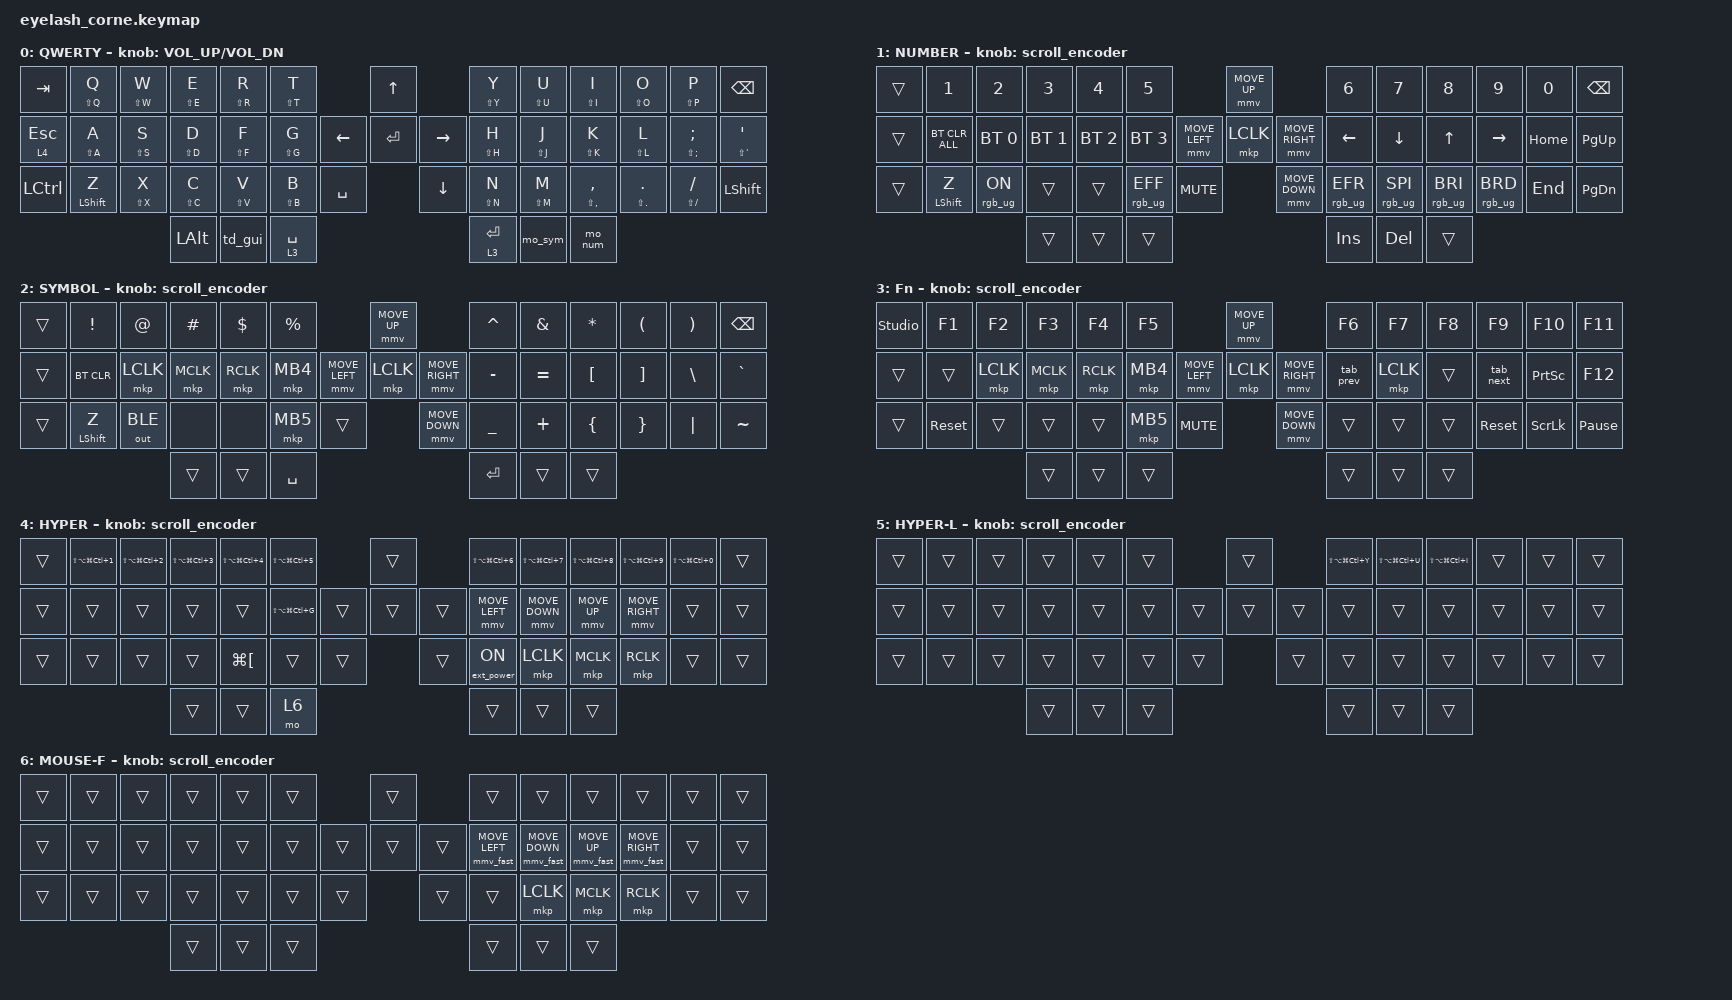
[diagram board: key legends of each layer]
#define ZMK_POINTING_DEFAULT_MOVE_VAL 1200  // 600
#define ZMK_POINTING_DEFAULT_SCRL_VAL 25   // 10

#include <input/processors.dtsi>
#include <zephyr/dt-bindings/input/input-event-codes.h>
#include <behaviors.dtsi>
#include <dt-bindings/zmk/bt.h>
#include <dt-bindings/zmk/ext_power.h>
#include <dt-bindings/zmk/keys.h>
#include <dt-bindings/zmk/outputs.h>
#include <dt-bindings/zmk/pointing.h>
#include <dt-bindings/zmk/rgb.h>



&mmv_input_listener { input-processors = <&zip_xy_scaler 2 1>; };

&msc_input_listener { input-processors = <&zip_scroll_scaler 2 1>; };

&msc {
    acceleration-exponent = <1>;      // 0
    time-to-max-speed-ms = <100>;       // 300
    delay-ms = <0>;                   // 0
};

&mmv {
    time-to-max-speed-ms = <500>;
    acceleration-exponent = <1>;
    trigger-period-ms = <16>;
};

&soft_off { hold-time-ms = <2000>; };

/ {
    macros {
        // NUMBER layer with orange RGB (hue 30)
        mo_num: mo_num {
            compatible = "zmk,behavior-macro";
            #binding-cells = <0>;
            bindings
                = <&macro_tap &rgb_ug RGB_COLOR_HSB(30,100,50)>
                , <&macro_press &mo 1>
                , <&macro_pause_for_release>
                , <&macro_release &mo 1>
                , <&macro_tap &rgb_ug RGB_COLOR_HSB(160,100,50)>
                ;
        };

        tab_prev: tab_prev {
            compatible = "zmk,behavior-macro";
            #binding-cells = <0>;
            bindings = <&macro_press &kp LGUI &kp LSHIFT>
                     , <&macro_tap &kp LBKT>
                     , <&macro_release &kp LGUI &kp LSHIFT>;
        };

        tab_next: tab_next {
            compatible = "zmk,behavior-macro";
            #binding-cells = <0>;
            bindings = <&macro_press &kp LGUI &kp LSHIFT>
                     , <&macro_tap &kp RBKT>
                     , <&macro_release &kp LGUI &kp LSHIFT>;
        };

        // SYMBOL layer with red RGB (hue 0)
        mo_sym: mo_sym {
            compatible = "zmk,behavior-macro";
            #binding-cells = <0>;
            bindings
                = <&macro_tap &rgb_ug RGB_COLOR_HSB(0,100,50)>
                , <&macro_press &mo 2>
                , <&macro_pause_for_release>
                , <&macro_release &mo 2>
                , <&macro_tap &rgb_ug RGB_COLOR_HSB(160,100,50)>
                ;
        };
    };

    behaviors {
        td0: td0 {
            compatible = "zmk,behavior-tap-dance";
            display-name = "Shift/Caps Lock Tap Dance";
            #binding-cells = <0>;
            bindings = <&kp LEFT_SHIFT>, <&kp CAPS>;
        };

        hm_z: hm_z {
            compatible = "zmk,behavior-hold-tap";
            display-name = "Z/Shift Hold-Tap";
            #binding-cells = <2>;
            tapping-term-ms = <200>;
            flavor = "balanced";
            bindings = <&kp>, <&kp>;
        };

        as_ht: autoshift_hold_tap {
            compatible = "zmk,behavior-hold-tap";
            display-name = "Auto Shift";
            #binding-cells = <2>;
            tapping-term-ms = <200>;
            flavor = "tap-preferred";
            bindings = <&kp>, <&kp>;
        };


        td_gui: td_gui {
            compatible = "zmk,behavior-tap-dance";
            display-name = "GUI/Hyper-Letter Tap Dance";
            #binding-cells = <0>;
            tapping-term-ms = <200>;
            bindings = <&kp LGUI>, <&mo 5>;
        };

        mmv_fast: mmv_fast {
            compatible = "zmk,behavior-input-two-axis";
            #binding-cells = <1>;
            x-input-code = <INPUT_REL_X>;
            y-input-code = <INPUT_REL_Y>;
            time-to-max-speed-ms = <100>;
            acceleration-exponent = <1>;
            trigger-period-ms = <16>;
        };
    };

    mmv_fast_input_listener: mmv_fast_input_listener {
        compatible = "zmk,input-listener";
        device = <&mmv_fast>;
        input-processors = <&zip_xy_scaler 2 1>;
    };

    rgb_encoder: rgb_encoder {
        compatible = "zmk,behavior-sensor-rotate";
        #sensor-binding-cells = <0>;
        bindings = <&rgb_ug RGB_BRI>, <&rgb_ug RGB_BRD>;
    };

    scroll_encoder: scroll_encoder {
        compatible = "zmk,behavior-sensor-rotate";
        #sensor-binding-cells = <0>;
        bindings = <&msc SCRL_DOWN>, <&msc SCRL_UP>;

        tap-ms = <100>;
    };

    combos {
        compatible = "zmk,combos";

        softoff {
            bindings = <&soft_off>;
            key-positions = <1 15 29>;
        };
    };

    keymap {
        compatible = "zmk,keymap";

        default_layer {
            display-name = "QWERTY";
            bindings = <
&kp TAB       &as_ht LS(Q) Q  &as_ht LS(W) W  &as_ht LS(E) E  &as_ht LS(R) R  &as_ht LS(T) T                            &kp UP                &as_ht LS(Y) Y  &as_ht LS(U) U  &as_ht LS(I) I  &as_ht LS(O) O  &as_ht LS(P) P  &kp BSPC
&lt 4 ESCAPE  &as_ht LS(A) A  &as_ht LS(S) S  &as_ht LS(D) D  &as_ht LS(F) F  &as_ht LS(G) G              &kp LEFT  &kp ENTER  &kp RIGHT  &as_ht LS(H) H  &as_ht LS(J) J  &as_ht LS(K) K  &as_ht LS(L) L  &as_ht LS(SEMI) SEMI  &as_ht LS(SQT) SQT
&kp LCTRL     &hm_z LSHIFT Z  &as_ht LS(X) X  &as_ht LS(C) C  &as_ht LS(V) V  &as_ht LS(B) B  &kp SPACE              &kp DOWN              &as_ht LS(N) N  &as_ht LS(M) M  &as_ht LS(COMMA) COMMA  &as_ht LS(DOT) DOT  &as_ht LS(FSLH) FSLH  &kp LSHIFT
                            &kp LALT  &td_gui  &lt 3 SPACE                                                  &lt 3 ENTER  &mo_sym  &mo_num
            >;

            sensor-bindings = <&inc_dec_kp C_VOLUME_UP C_VOL_DN>;
        };

        lower_layer {
            display-name = "NUMBER";
            bindings = <
&trans  &kp N1           &kp N2          &kp N3        &kp N4        &kp N5                                         &mmv MOVE_UP                     &kp N6           &kp N7           &kp N8           &kp N9           &kp N0    &kp BSPC
&trans  &bt BT_CLR_ALL   &bt BT_SEL 0    &bt BT_SEL 1  &bt BT_SEL 2  &bt BT_SEL 3                   &mmv MOVE_LEFT  &mkp LCLK       &mmv MOVE_RIGHT  &kp LEFT         &kp DOWN         &kp UP           &kp RIGHT        &kp HOME  &kp PG_UP
&trans  &hm_z LSHIFT Z  &rgb_ug RGB_ON  &trans        &trans        &rgb_ug RGB_EFF  &kp C_MUTE                    &mmv MOVE_DOWN                   &rgb_ug RGB_EFR  &rgb_ug RGB_SPI  &rgb_ug RGB_BRI  &rgb_ug RGB_BRD  &kp END   &kp PG_DN
                                         &trans        &trans        &trans                                                                          &kp INS          &kp DEL          &trans
            >;

            sensor-bindings = <&scroll_encoder>;
        };

        raise_layer {
            display-name = "SYMBOL";
            bindings = <
&trans  &kp EXCL      &kp AT        &kp HASH   &kp DLLR   &kp PRCNT                            &mmv MOVE_UP                     &kp CARET  &kp AMPS   &kp ASTRK  &kp LPAR  &kp RPAR  &kp BSPC
&trans  &bt BT_CLR    &mkp LCLK     &mkp MCLK  &mkp RCLK  &mkp MB4             &mmv MOVE_LEFT  &mkp LCLK       &mmv MOVE_RIGHT  &kp MINUS  &kp EQUAL  &kp LBKT   &kp RBKT  &kp BSLH  &kp GRAVE
&trans  &hm_z LSHIFT Z  &out OUT_BLE  &none      &none      &mkp MB5   &trans                    &mmv MOVE_DOWN                   &kp UNDER  &kp PLUS   &kp LBRC   &kp RBRC  &kp PIPE  &kp TILDE
                                    &trans     &trans     &kp SPACE                                                             &kp RET    &trans     &trans
            >;

            sensor-bindings = <&scroll_encoder>;
        };

        layer_3 {
            display-name = "Fn";
            bindings = <
&studio_unlock  &kp F1      &kp F2     &kp F3       &kp F4     &kp F5                                  &mmv MOVE_UP                     &kp F6       &kp F7     &kp F8       &kp F9      &kp F10          &kp F11
&trans          &trans      &mkp LCLK  &mkp MCLK    &mkp RCLK  &mkp MB4                &mmv MOVE_LEFT  &mkp LCLK       &mmv MOVE_RIGHT  &tab_prev    &mkp LCLK  &trans       &tab_next   &kp PRINTSCREEN  &kp F12
&trans          &sys_reset  &trans     &trans       &trans     &mkp MB5  &kp C_MUTE                    &mmv MOVE_DOWN                   &trans       &trans     &trans       &sys_reset  &kp SCROLLLOCK   &kp PAUSE_BREAK
                                       &trans       &trans     &trans                                                                   &trans       &trans     &trans
            >;

            sensor-bindings = <&scroll_encoder>;
        };

        hyper_layer {
            display-name = "HYPER";
            bindings = <
&trans  &kp LS(LA(LG(LC(N1))))  &kp LS(LA(LG(LC(N2))))  &kp LS(LA(LG(LC(N3))))  &kp LS(LA(LG(LC(N4))))  &kp LS(LA(LG(LC(N5))))                    &trans          &kp LS(LA(LG(LC(N6))))  &kp LS(LA(LG(LC(N7))))  &kp LS(LA(LG(LC(N8))))  &kp LS(LA(LG(LC(N9))))  &kp LS(LA(LG(LC(N0))))  &trans
&trans  &trans                  &trans                  &trans                  &trans                  &kp LS(LA(LG(LC(G))))             &trans  &trans  &trans  &mmv MOVE_LEFT          &mmv MOVE_DOWN          &mmv MOVE_UP            &mmv MOVE_RIGHT         &trans                  &trans
&trans  &trans                  &trans                  &trans                  &kp LG(LBKT)            &trans                  &trans            &trans          &ext_power EP_ON        &mkp LCLK               &mkp MCLK               &mkp RCLK               &trans                  &trans
                                                        &trans                  &trans                  &mo 6                                                     &trans                  &trans                  &trans
            >;

            sensor-bindings = <&scroll_encoder>;
        };

        hyper_letter_layer {
            display-name = "HYPER-L";
            bindings = <
&trans  &trans  &trans  &trans  &trans  &trans                    &trans          &kp LS(LA(LG(LC(Y))))  &kp LS(LA(LG(LC(U))))  &kp LS(LA(LG(LC(I))))  &trans  &trans  &trans
&trans  &trans  &trans  &trans  &trans  &trans  &trans  &trans  &trans  &trans  &trans  &trans  &trans  &trans  &trans
&trans  &trans  &trans  &trans  &trans  &trans  &trans          &trans          &trans  &trans  &trans  &trans  &trans  &trans
                        &trans  &trans  &trans                                  &trans  &trans  &trans
            >;

            sensor-bindings = <&scroll_encoder>;
        };

        mouse_fast {
            display-name = "MOUSE-F";
            bindings = <
&trans  &trans  &trans  &trans  &trans  &trans                    &trans          &trans                    &trans                &trans                &trans                &trans  &trans
&trans  &trans  &trans  &trans  &trans  &trans  &trans  &trans  &trans  &mmv_fast MOVE_LEFT  &mmv_fast MOVE_DOWN  &mmv_fast MOVE_UP  &mmv_fast MOVE_RIGHT  &trans  &trans
&trans  &trans  &trans  &trans  &trans  &trans  &trans          &trans          &trans                    &mkp LCLK             &mkp MCLK             &mkp RCLK             &trans  &trans
                        &trans  &trans  &trans                                  &trans                    &trans                &trans
            >;

            sensor-bindings = <&scroll_encoder>;
        };
    };
};
